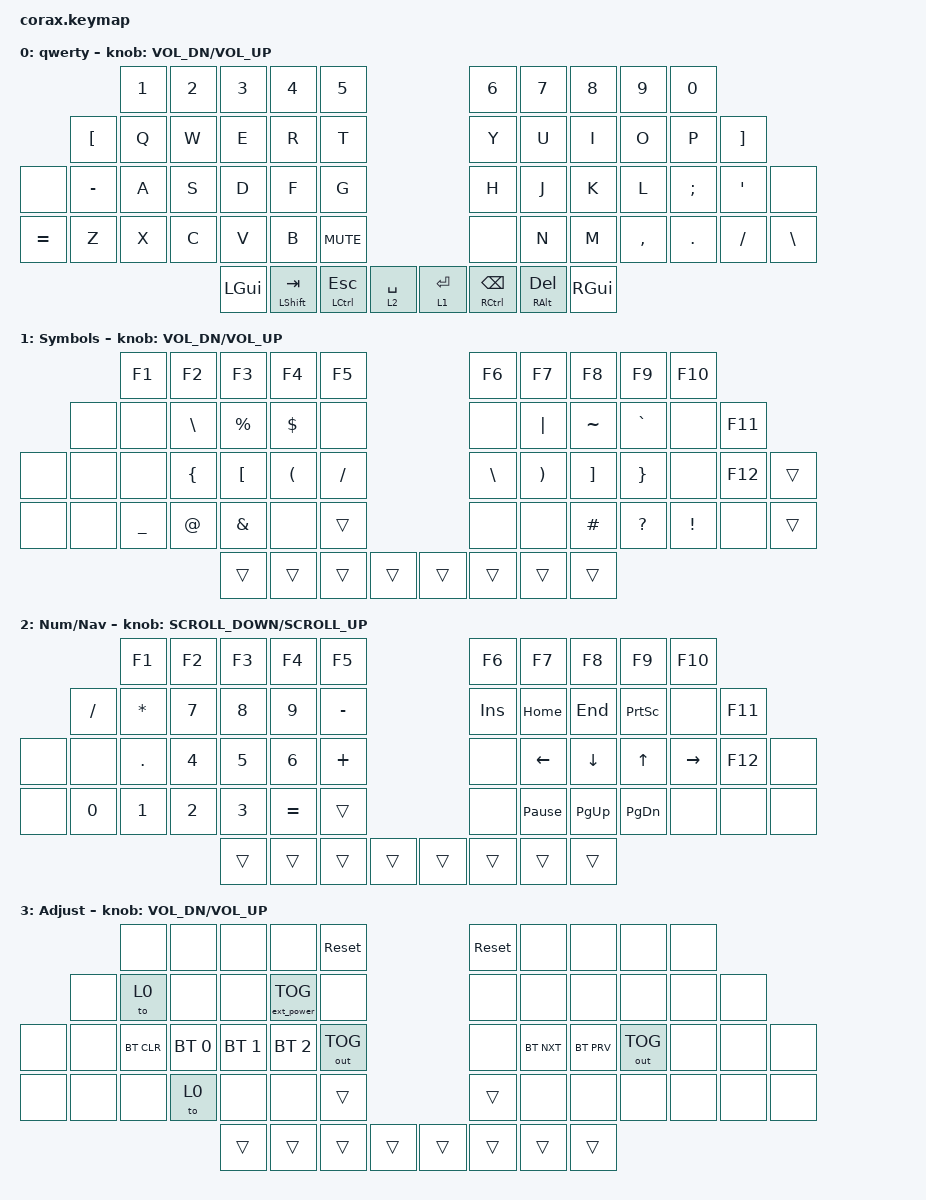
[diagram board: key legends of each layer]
#include <behaviors.dtsi>
#include <dt-bindings/zmk/bt.h>
#include <dt-bindings/zmk/ext_power.h>
#include <dt-bindings/zmk/keys.h>
#include <dt-bindings/zmk/outputs.h>

// additional caps word keys

&caps_word { continue-list = <UNDERSCORE MINUS LS(MINUS) UP DOWN LEFT RIGHT BSPC DEL>; };

/ {
    behaviors {
        lthp: layer_tap_hold_preferred {
            compatible = "zmk,behavior-hold-tap";
            #binding-cells = <2>;
            flavor = "hold-preferred";
            tapping-term-ms = <200>;
            bindings = <&mo>, <&kp>;
        };

        mthp: mod_tap_hold_preferred {
            compatible = "zmk,behavior-hold-tap";
            #binding-cells = <2>;
            flavor = "hold-preferred";
            tapping-term-ms = <200>;
            bindings = <&kp>, <&kp>;
        };
    };

    macros {
        // undead `
        // undead ~
        // undead ^
        // undead '
        // undead "
        // ascii arrow ->
    };

    combos {
        compatible = "zmk,combos";

        gm_capsword {
            bindings = <&caps_word>;

            // caps on G+M

            key-positions = <28 29>;
        };

        sticky_adjust {
            bindings = <&sl 3>;

            // sticky adjust layer on LALT+RALT

            key-positions = <51 56>;
        };
    };

    keymap {
        compatible = "zmk,keymap";

        qwerty_layer {
            display-name = "qwerty";
            bindings = <
                         &kp N1  &kp N2  &kp N3    &kp N4              &kp N5                                                   &kp N6               &kp N7                  &kp N8     &kp N9   &kp N0
       &kp LEFT_BRACKET  &kp Q   &kp W   &kp E     &kp R               &kp T                                                    &kp Y                &kp U                   &kp I      &kp O    &kp P          &kp RIGHT_BRACKET
&none  &kp MINUS         &kp A   &kp S   &kp D     &kp F               &kp G                                                    &kp H                &kp J                   &kp K      &kp L    &kp SEMICOLON  &kp SQT            &none
       &kp EQUAL         &kp Z   &kp X   &kp C     &kp V               &kp B                    &kp C_MUTE       &none          &kp N                &kp M                   &kp COMMA  &kp DOT  &kp SLASH      &kp BACKSLASH
                                         &kp LGUI  &mt LEFT_SHIFT TAB  &mt LEFT_CONTROL ESCAPE  &lthp 2 SPACE    &lthp 1 ENTER  &mt RCTRL BACKSPACE  &mthp RIGHT_ALT DELETE  &kp RGUI
            >;

            sensor-bindings = <&inc_dec_kp C_VOL_DN C_VOL_UP>;
        };

        // left mod

        sym_layer {
            display-name = "Symbols";
            bindings = <
              &kp F1  &kp F2          &kp F3            &kp F4                &kp F5                       &kp F6         &kp F7                 &kp F8             &kp F9           &kp F10
       &none  &none   &kp BSLH        &kp PRCNT         &kp DLLR              &none                        &none          &kp PIPE               &kp TILDE          &kp GRAVE        &none    &kp F11
&none  &none  &none   &kp LEFT_BRACE  &kp LEFT_BRACKET  &kp LEFT_PARENTHESIS  &kp SLASH                    &kp BACKSLASH  &kp RIGHT_PARENTHESIS  &kp RIGHT_BRACKET  &kp RIGHT_BRACE  &none    &kp F12  &trans
       &none  &none   &kp UNDERSCORE  &kp AT            &kp AMPS              &none      &trans    &none   &none          &kp HASH               &kp QMARK          &kp EXCL         &none    &trans
                                      &trans            &trans                &trans     &trans    &trans  &trans         &trans                 &trans
            >;

            sensor-bindings = <&inc_dec_kp C_VOL_DN C_VOL_UP>;
        };

        // right mod

        nav_layer {
            display-name = "Num/Nav";
            bindings = <
                  &kp F1        &kp F2  &kp F3  &kp F4  &kp F5                       &kp F6           &kp F7       &kp F8         &kp F9     &kp F10
       &kp SLASH  &kp ASTERISK  &kp N7  &kp N8  &kp N9  &kp MINUS                    &kp INS          &kp HOME     &kp END        &kp PSCRN  &none      &kp F11
&none  &none      &kp DOT       &kp N4  &kp N5  &kp N6  &kp PLUS                     &none            &kp LEFT     &kp DOWN       &kp UP     &kp RIGHT  &kp F12  &none
       &none      &kp NUMBER_0  &kp N1  &kp N2  &kp N3  &kp EQUAL  &trans    &none   &kp PAUSE_BREAK  &kp PAGE_UP  &kp PAGE_DOWN  &none      &none      &none
                                        &trans  &trans  &trans     &trans    &trans  &trans           &trans       &trans
            >;

            sensor-bindings = <&inc_dec_kp K_SCROLL_DOWN K_SCROLL_UP>;
        };

        // double mod

        adjust_layer {
            display-name = "Adjust";
            bindings = <
              &none       &none         &none         &none              &sys_reset                      &sys_reset  &none       &none       &none         &none
       &none  &to 0       &none         &none         &ext_power EP_TOG  &none                           &none       &none       &none       &none         &none  &none
&none  &none  &bt BT_CLR  &bt BT_SEL 0  &bt BT_SEL 1  &bt BT_SEL 2       &out OUT_TOG                    &none       &bt BT_NXT  &bt BT_PRV  &out OUT_TOG  &none  &none  &none
       &none  &none       &none         &to 0         &none              &none         &trans    &trans  &none       &none       &none       &none         &none  &none
                                        &trans        &trans             &trans        &trans    &trans  &trans      &trans      &trans
            >;

            sensor-bindings = <&inc_dec_kp C_VOL_DN C_VOL_UP>;
        };
    };
};
